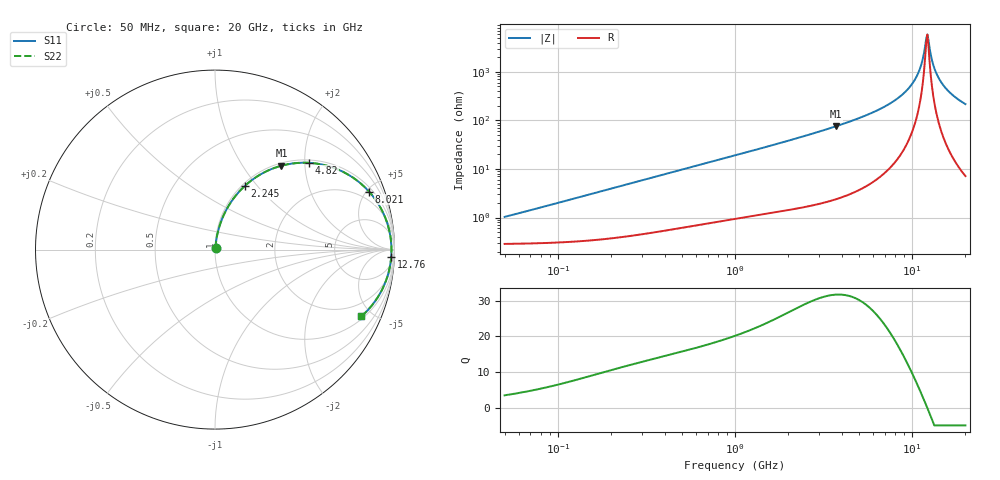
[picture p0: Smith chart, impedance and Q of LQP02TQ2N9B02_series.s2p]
!Murata Part Number: LQP02TQ2N9B02
!These Parameters are Measured in Series Mode Connection
!  o--[Z]--o
!Port1  Port2
!  o-------o
!Freq. Start=50[MHz] Stop=20[GHz], 401[Steps]
# Hz S RI R 50
!Freq.(Hz) S11(Real) S11(Imag) S21(Real) S21(Imag) S12(Real) S12(Imag) S22(Real) S22(Imag)
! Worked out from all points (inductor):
!   401 points, 50 MHz to 20 GHz, reference 50 ohm
!   read as one part in series: L = 3.15 nH near 51.52 MHz
!   highest Q = 31.7 at 3.736 GHz (marker M1), where L = 3.23 nH
!   self-resonance near 12.02 GHz
!   S11 on the Smith chart (normalised r, x): 50 MHz: 1.01, +0.02; 2.245 GHz: 1.03, +0.86; 4.82 GHz: 1.07, +2.10; 8.021 GHz: 1.28, +5.19; 12.76 GHz: 17, -41; 20 GHz: 1.14, -4.32
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5e7  0.00295 0.00985  0.997 -0.00985  0.997 -0.00985  0.00295 0.00985
1.364002e8  0.00398 0.0267  0.996 -0.0267  0.996 -0.0267  0.00398 0.0267
3.721004e8  0.0102 0.071  0.9898 -0.071  0.9898 -0.071  0.0102 0.071
1e9  0.0431 0.1797  0.9569 -0.1797  0.9569 -0.1797  0.0431 0.1797
2.245319e9  0.165 0.3538  0.835 -0.3538  0.835 -0.3538  0.165 0.3538
2.728004e9  0.2272 0.4027  0.7728 -0.4027  0.7728 -0.4027  0.2272 0.4027
3.736399e9  0.3699 0.4673  0.6301 -0.4673  0.6301 -0.4673  0.3699 0.4673
4.81993e9  0.5242 0.4834  0.4758 -0.4834  0.4758 -0.4834  0.5242 0.4834
7.442007e9  0.8151 0.3655  0.1849 -0.3655  0.1849 -0.3655  0.8151 0.3655
8.020766e9  0.8584 0.323  0.1416 -0.323  0.1416 -0.323  0.8584 0.323
9.316812e9  0.929 0.2208  0.071 -0.2208  0.071 -0.2208  0.929 0.2208
1.050288e10  0.966 0.1258  0.034 -0.1258  0.034 -0.1258  0.966 0.1258
1.115139e10  0.977 0.0755  0.023 -0.0755  0.023 -0.0755  0.977 0.0755
1.201863e10  0.9831 0.0111  0.0169 -0.0111  0.0169 -0.0111  0.9831 0.0111
1.220001e10  0.9833 -0.00183  0.0167 0.00183  0.0167 0.00183  0.9833 -0.00183
1.238412e10  0.9832 -0.0148  0.0168 0.0148  0.0168 0.0148  0.9832 -0.0148
1.276073e10  0.9818 -0.0407  0.0182 0.0407  0.0182 0.0407  0.9818 -0.0407
1.314879e10  0.9792 -0.0664  0.0208 0.0664  0.0208 0.0664  0.9792 -0.0664
1.354865e10  0.9751 -0.092  0.0249 0.092  0.0249 0.092  0.9751 -0.092
1.482269e10  0.9551 -0.1666  0.0449 0.1666  0.0449 0.1666  0.9551 -0.1666
1.696185e10  0.9045 -0.2691  0.0955 0.2691  0.0955 0.2691  0.9045 -0.2691
2e10  0.8156 -0.3717  0.1844 0.3717  0.1844 0.3717  0.8156 -0.3717
